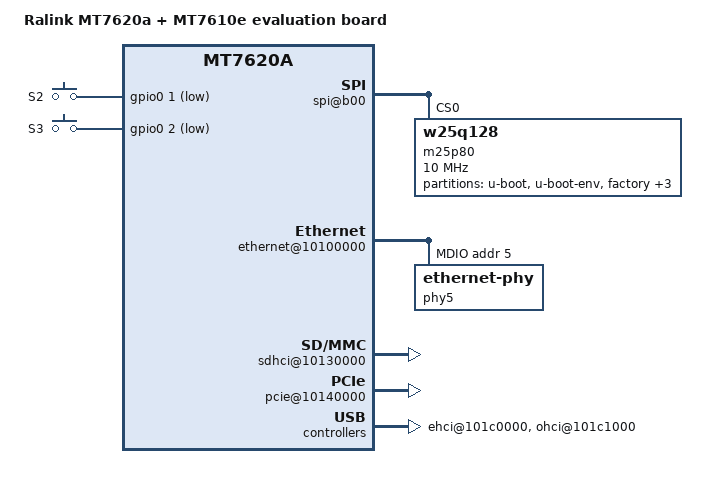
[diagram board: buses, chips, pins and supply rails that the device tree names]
/dts-v1/;

/include/ "mt7620a.dtsi"

/ {
	compatible = "ralink,mt7620a-eval-board", "ralink,mt7620a-soc";
	model = "Ralink MT7620a + MT7610e evaluation board";

	palmbus@10000000 {
		spi@b00 {
			status = "okay";

			m25p80@0 {
				#address-cells = <1>;
				#size-cells = <1>;
				compatible = "w25q128", "mx25l6405d";
				reg = <0 0>;
				linux,modalias = "m25p80";
				spi-max-frequency = <10000000>;

				partition@0 {
					label = "u-boot";
					reg = <0x0 0x30000>;
				};

				partition@30000 {
					label = "u-boot-env";
					reg = <0x30000 0x10000>;
				};

				factory: partition@40000 {
					label = "factory";
					reg = <0x40000 0x10000>;
					read-only;
				};

				partition@50000 {
					label = "linux";
					reg = <0x50000 0xea0000>;
				};

				partition@f00000 {
					label = "User_CFG";
					reg = <0xf00000 0x100000>;
				};

				partition@ef0000 {
					label = "nvram";
					reg = <0xef0000 0x10000>;
				};

			};
		};
	};

	pinctrl {
		state_default: pinctrl0 {
			gpio {
				ralink,group = "i2c", "uartf", "wled", "nd_sd";
				ralink,function = "gpio";
			};
		};
	};

	ethernet@10100000 {
		pinctrl-names = "default";
		pinctrl-0 = <&rgmii1_pins &mdio_pins>;

		port@5 {
			status = "okay";
			phy-handle = <&phy5>;
			phy-mode = "rgmii";
		};

		mdio-bus {
			status = "okay";

			phy5: ethernet-phy@5 {
				reg = <5>;
				phy-mode = "rgmii";
			};
		};
	};

	gsw@10110000 {
		ralink,port4 = "ephy";
	};


	sdhci@10130000 {
		status = "okay";
	};

	pcie@10140000 {
		status = "okay";
	};

	gpio-keys-polled {
		compatible = "gpio-keys";
		#address-cells = <1>;
		#size-cells = <0>;
		poll-interval = <20>;
		s2 {
			label = "S2";
			gpios = <&gpio0 1 1>;
			linux,code = <0x100>;
		};
		s3 {
			label = "S3";
			gpios = <&gpio0 2 1>;
			linux,code = <0x101>;
		};
	};

	ehci@101c0000 {
		status = "okay";
	};

	ohci@101c1000 {
		status = "okay";
	};
};
